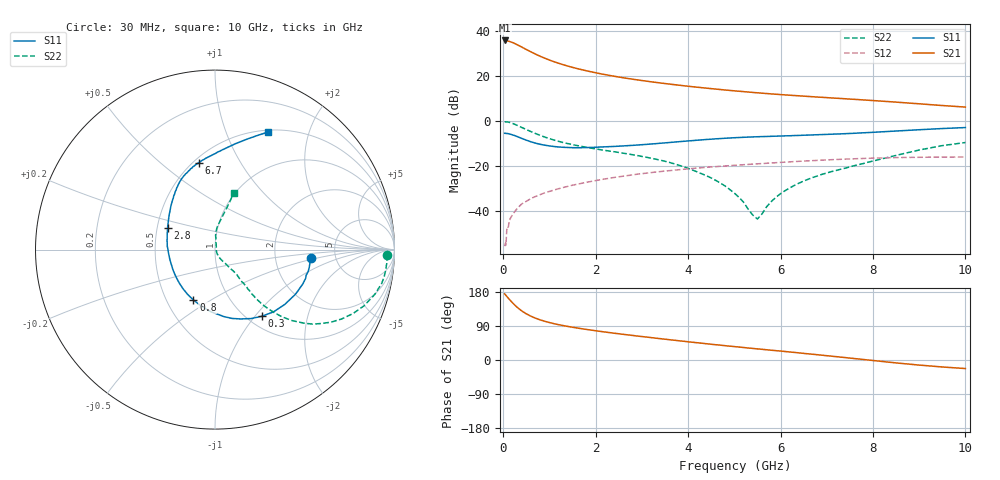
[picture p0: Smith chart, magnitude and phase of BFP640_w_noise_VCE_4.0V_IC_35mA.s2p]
! Infineon Technologies  Discrete & RF Semiconductors
! BFP640
! VCE =  4.0 V,  IC =  35 mA
! Common Emitter S-Parameters:  Apr 2013
# GHz  S  MA  R  50
!  f  S11  S21  S12  S22
! GHz  MAG  ANG  MAG  ANG  MAG  ANG  MAG  ANG
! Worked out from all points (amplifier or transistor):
!   99 points, 30 MHz to 10 GHz, reference 50 ohm
!   highest |S21| = 35.7 dB at 30 MHz (marker M1)
!   |S21| within 3 dB of that: start of sweep to 408.1 MHz
!   unconditionally stable (mu >= 1): 2.055 GHz to end of sweep
!   at 350 MHz: K = 0.43, MSG = 35.5 dB, |S12| = -37.7 dB
!   at 3.5 GHz: K = 1.05, MAG = 18.0 dB, |S12| = -22.1 dB
!   at 10 GHz: K = 1.06, MAG = 9.5 dB, |S12| = -15.9 dB
!   lowest NFmin = 1.16 dB at 450 MHz
!   S11 on the Smith chart (normalised r, x): 30 MHz: 3.24, -0.44; 300 MHz: 1.16, -1.09; 800 MHz: 0.68, -0.42; 2.8 GHz: 0.57, +0.15; 6.7 GHz: 0.53, +0.68; 10 GHz: 0.52, +1.41
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0.03  0.5359 -5.2  60.74 174.5  0.0017 47.0  0.9594 -1.8
0.08  0.5277 -15.6  59.73 167.4  0.0043 64.5  0.9557 -8.0
0.15  0.5125 -29.1  57.13 157.6  0.0069 79.0  0.9236 -15.8
0.2  0.4943 -38.2  54.71 151.0  0.0084 75.7  0.8871 -20.7
0.25  0.476 -46.8  51.96 144.9  0.0099 68.9  0.8471 -24.9
0.3  0.454 -54.9  49.07 139.3  0.0115 71.3  0.8046 -28.7
0.4  0.4122 -69.6  43.45 129.6  0.0146 68.2  0.7216 -34.8
0.5  0.3769 -82.3  38.29 121.9  0.0167 65.8  0.647 -39.4
0.6  0.3472 -93.7  33.89 115.5  0.0193 64.9  0.5829 -42.7
0.7  0.3235 -103.9  30.2 110.3  0.0214 63.6  0.5287 -45.1
0.8  0.3055 -113.2  27.12 105.9  0.0235 63.1  0.4811 -46.8
1.1  0.2729 -136.6  20.55 95.8  0.0298 61.9  0.3789 -49.6
1.4  0.2599 -154.5  16.44 88.5  0.0359 60.7  0.3166 -50.3
1.7  0.2575 -169.0  13.68 82.5  0.0419 59.4  0.2738 -49.8
2.2  0.2685 172.7  10.67 73.9  0.0522 56.2  0.2241 -50.0
2.8  0.2896 155.8  8.432 64.8  0.0644 51.8  0.1795 -49.0
3.4  0.3227 142.1  6.958 56.3  0.0762 46.8  0.1359 -51.0
5.1  0.4318 116.1  4.568 34.2  0.1064 32.3  0.0205 -60.6
5.5  0.4489 112.0  4.216 29.3  0.1129 28.9  0.0068 11.3
6.7  0.4933 100.5  3.451 15.1  0.133 18.3  0.0565 85.2
8.5  0.6014 79.0  2.621 -7.7  0.1553 0.2  0.1738 78.7
10  0.7173 65.8  2.036 -22.6  0.16 -11.9  0.3344 72.0
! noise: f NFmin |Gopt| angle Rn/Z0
0.45  1.16  0.22  -170  0.04
0.9  1.17  0.23  -159  0.07
1.5  1.18  0.26  -144  0.08
1.9  1.18  0.27  224  0.1
2.4  1.23  0.29  -122  0.11
3.5  1.36  0.34  -105  0.15
5.5  1.57  0.38  -91  0.23
10  2.02  0.62  -50  0.64
